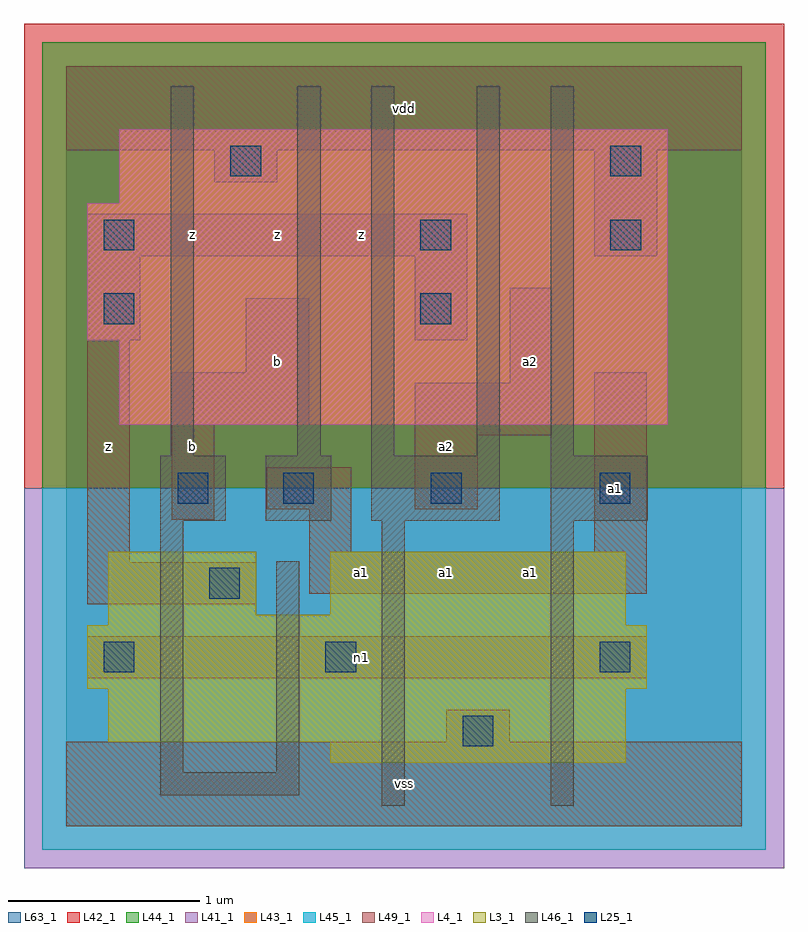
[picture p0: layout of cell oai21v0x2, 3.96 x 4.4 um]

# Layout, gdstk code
import gdstk
lib = gdstk.Library(unit=1e-6, precision=1e-09)
def R(c, l, rs):  # rectangles x0, y0, x1, y1
    for r in rs: c.add(gdstk.rectangle(r[:2], r[2:], *l))
L3_1 = (3, 1)
L4_1 = (4, 1)
L25_1 = (25, 1)
L41_1 = (41, 1)
L42_1 = (42, 1)
L43_1 = (43, 1)
L44_1 = (44, 1)
L45_1 = (45, 1)
L46_1 = (46, 1)
L49_1 = (49, 1)
L63_1 = (63, 1)

oai21v0x2 = lib.new_cell('oai21v0x2')
R(oai21v0x2, L3_1, [(1.375,0.33,2.915,0.44), (0.22,0.44,2.915,0.715), (0.11,0.715,3.025,1.045), (0.22,1.045,2.915,1.1), (0.22,1.1,0.99,1.43), (1.375,1.1,2.915,1.43)])
R(oai21v0x2, L4_1, [(0.275,2.09,3.135,2.53), (0.11,2.53,3.135,3.245), (0.275,3.245,3.135,3.63)])
R(oai21v0x2, L25_1, [(2.065,0.415,2.225,0.575), (0.195,0.8,0.355,0.96), (1.35,0.8,1.51,0.96), (2.78,0.8,2.94,0.96), (0.745,1.185,0.905,1.345), (0.58,1.68,0.74,1.84), (1.13,1.68,1.29,1.84), (1.9,1.68,2.06,1.84), (2.78,1.68,2.94,1.84), (0.195,2.615,0.355,2.775), (1.845,2.615,2.005,2.775), (0.195,3,0.355,3.16), (1.845,3,2.005,3.16), (2.835,3,2.995,3.16), (0.855,3.385,1.015,3.545), (2.835,3.385,2.995,3.545)])
R(oai21v0x2, L41_1, [(-0.22,-0.22,3.74,1.76)])
R(oai21v0x2, L42_1, [(-0.22,1.76,3.74,4.18)])
R(oai21v0x2, L43_1, [(1.375,0.33,2.915,0.44), (0.22,0.44,2.915,0.715), (0.11,0.715,3.025,1.045), (0.22,1.045,2.915,1.1), (0.22,1.1,0.99,1.43), (1.375,1.1,2.915,1.43), (0.275,2.09,3.135,2.53), (0.11,2.53,3.135,3.245), (0.275,3.245,3.135,3.63)])
R(oai21v0x2, L44_1, [(-0.125,1.76,3.645,4.085)])
R(oai21v0x2, L45_1, [(-0.125,-0.125,3.645,1.76)])
R(oai21v0x2, L46_1, [(1.645,0.105,1.765,1.59), (2.525,0.105,2.645,1.59), (0.49,0.16,1.215,0.28), (0.49,0.28,0.61,1.59), (1.095,0.28,1.215,1.38), (0.49,1.59,0.83,1.93), (1.04,1.59,1.38,1.93), (1.59,1.59,2.26,1.93), (2.525,1.59,3.03,1.93), (0.545,1.93,0.665,3.855), (1.205,1.93,1.325,3.855), (1.59,1.93,1.71,3.855), (2.14,1.93,2.26,3.855), (2.525,1.93,2.645,3.855)])
R(oai21v0x2, L49_1, [(0,0,3.52,0.44), (1.98,0.44,2.31,0.605), (0.11,0.77,3.025,0.99), (0.11,1.155,0.99,1.375), (1.265,1.21,3.025,1.43), (0.11,1.375,0.33,2.53), (1.265,1.43,1.485,1.65), (2.75,1.43,3.025,2.365), (0.55,1.595,0.77,2.09), (1.045,1.65,1.485,1.87), (1.815,1.65,2.145,2.035), (1.815,2.035,2.53,2.31), (0.55,2.09,1.265,2.365), (2.31,2.31,2.53,2.805), (0.935,2.365,1.265,2.75), (0.11,2.53,0.385,2.97), (1.815,2.53,2.09,2.97), (0.11,2.97,2.09,3.19), (2.75,2.97,3.08,3.52), (0.77,3.355,1.1,3.52), (0,3.52,3.52,3.96)])
R(oai21v0x2, L63_1, [(0,0,3.52,3.96)])
oai21v0x2.add(gdstk.Label('z', (0.22,1.98), layer=49, texttype=1))
oai21v0x2.add(gdstk.Label('b', (0.66,1.98), layer=49, texttype=1))
oai21v0x2.add(gdstk.Label('z', (0.66,3.08), layer=49, texttype=1))
oai21v0x2.add(gdstk.Label('a1', (1.54,1.32), layer=49, texttype=1))
oai21v0x2.add(gdstk.Label('b', (1.1,2.42), layer=49, texttype=1))
oai21v0x2.add(gdstk.Label('z', (1.1,3.08), layer=49, texttype=1))
oai21v0x2.add(gdstk.Label('z', (1.54,3.08), layer=49, texttype=1))
oai21v0x2.add(gdstk.Label('vss', (1.76,0.22), layer=49, texttype=1))
oai21v0x2.add(gdstk.Label('a1', (1.98,1.32), layer=49, texttype=1))
oai21v0x2.add(gdstk.Label('a1', (2.42,1.32), layer=49, texttype=1))
oai21v0x2.add(gdstk.Label('a2', (1.98,1.98), layer=49, texttype=1))
oai21v0x2.add(gdstk.Label('a2', (2.42,2.42), layer=49, texttype=1))
oai21v0x2.add(gdstk.Label('vdd', (1.76,3.74), layer=49, texttype=1))
oai21v0x2.add(gdstk.Label('n1', (1.54,0.88), layer=49, texttype=1))
oai21v0x2.add(gdstk.Label('a1', (2.86,1.76), layer=49, texttype=1))

lib.write_gds('oai21v0x2.gds')
